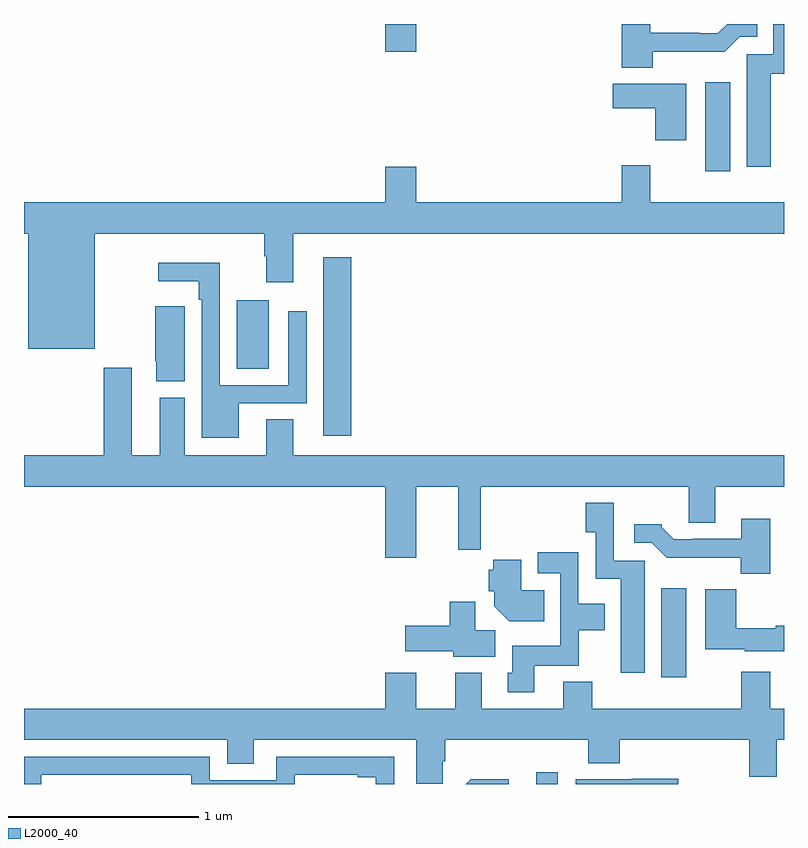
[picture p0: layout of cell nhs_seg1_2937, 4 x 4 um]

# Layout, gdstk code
import gdstk
lib = gdstk.Library(unit=1e-6, precision=1e-09)
def R(c, l, rs):  # rectangles x0, y0, x1, y1
    for r in rs: c.add(gdstk.rectangle(r[:2], r[2:], *l))
def P(c, l, *ps):  # polygons
    for p in ps: c.add(gdstk.Polygon(p, *l))
L2000_40 = (2000, 40)

nhs_seg1_2937 = lib.new_cell('nhs_seg1_2937')
R(nhs_seg1_2937, L2000_40, [(273.695,518.199,273.81,518.26), (274.355,518.76,274.486,519.229), (272.576,520.032,272.723,520.972), (272.12,520.384,272.287,520.746), (274.586,521.424,274.717,521.893), (272.9,522.054,273.064,522.199)])
P(nhs_seg1_2937, L2000_40, [(274.93,521.936),(275,521.936),(275,522.199),(274.943,522.199),(274.943,522.039),(274.805,522.039),(274.805,521.448),(274.93,521.448)],
  [(274.31,522.054),(274.689,522.054),(274.767,522.132),(274.858,522.132),(274.858,522.199),(274.701,522.199),(274.652,522.15),(274.553,522.15),(274.553,522.153),(274.297,522.153),(274.297,522.199),(274.145,522.199),(274.145,521.969),(274.31,521.969)],
  [(274.486,521.884),(274.098,521.884),(274.098,521.755),(274.322,521.755),(274.322,521.586),(274.486,521.586)],
  [(271.372,521.096),(272.264,521.096),(272.264,520.976),(272.276,520.976),(272.276,520.839),(272.416,520.839),(272.416,521.096),(275,521.096),(275,521.26),(274.297,521.26),(274.297,521.455),(274.145,521.455),(274.145,521.26),(273.064,521.26),(273.064,521.449),(272.9,521.449),(272.9,521.26),(271,521.26),(271,521.096),(271.022,521.096),(271.022,520.49),(271.372,520.49)],
  [(272.131,520.203),(272.487,520.203),(272.487,520.687),(272.391,520.687),(272.391,520.299),(272.031,520.299),(272.031,520.942),(271.707,520.942),(271.707,520.844),(271.919,520.844),(271.919,520.748),(271.935,520.748),(271.935,520.022),(272.131,520.022)],
  [(271.846,520.601),(271.845,520.601),(271.845,520.714),(271.69,520.714),(271.69,520.423),(271.697,520.423),(271.697,520.318),(271.846,520.318)],
  [(272.416,520.118),(272.276,520.118),(272.276,519.928),(271.846,519.928),(271.846,520.233),(271.715,520.233),(271.715,519.928),(271.567,519.928),(271.567,520.39),(271.42,520.39),(271.42,519.928),(271,519.928),(271,519.764),(272.9,519.764),(272.9,519.39),(273.064,519.39),(273.064,519.764),(273.286,519.764),(273.286,519.432),(273.404,519.432),(273.404,519.764),(274.499,519.764),(274.499,519.574),(274.639,519.574),(274.639,519.764),(275,519.764),(275,519.928),(272.416,519.928)],
  [(274.267,519.375),(274.104,519.375),(274.104,519.679),(273.956,519.679),(273.956,519.523),(274.008,519.523),(274.008,519.278),(274.142,519.278),(274.142,518.784),(274.267,518.784)],
  [(274.928,519.595),(274.775,519.595),(274.775,519.489),(274.519,519.489),(274.519,519.486),(274.42,519.486),(274.356,519.55),(274.356,519.565),(274.212,519.565),(274.212,519.468),(274.305,519.468),(274.384,519.39),(274.773,519.39),(274.773,519.305),(274.928,519.305)],
  [(273.685,518.822),(273.921,518.822),(273.921,519.008),(274.057,519.008),(274.057,519.148),(273.918,519.148),(273.918,519.418),(273.705,519.418),(273.705,519.309),(273.822,519.309),(273.822,518.926),(273.569,518.926),(273.569,518.784),(273.545,518.784),(273.545,518.682),(273.685,518.682)],
  [(273.737,519.22),(273.616,519.22),(273.616,519.378),(273.469,519.378),(273.469,519.327),(273.446,519.327),(273.446,519.213),(273.476,519.213),(273.476,519.134),(273.554,519.056),(273.737,519.056)],
  [(275,519.032),(274.956,519.032),(274.956,519.019),(274.748,519.019),(274.748,519.223),(274.586,519.223),(274.586,518.909),(274.794,518.909),(274.794,518.897),(275,518.897)],
  [(273.481,519.008),(273.376,519.008),(273.376,519.157),(273.242,519.157),(273.242,519.032),(273.006,519.032),(273.006,518.897),(273.258,518.897),(273.258,518.87),(273.481,518.87)],
  [(273.203,518.32),(273.218,518.32),(273.218,518.432),(273.971,518.432),(273.971,518.308),(274.136,518.308),(274.136,518.432),(274.816,518.432),(274.816,518.238),(274.963,518.238),(274.963,518.432),(275,518.432),(275,518.596),(274.928,518.596),(274.928,518.791),(274.775,518.791),(274.775,518.596),(273.992,518.596),(273.992,518.737),(273.839,518.737),(273.839,518.596),(273.409,518.596),(273.409,518.785),(273.269,518.785),(273.269,518.596),(273.064,518.596),(273.064,518.785),(272.9,518.785),(272.9,518.596),(271,518.596),(271,518.432),(272.069,518.432),(272.069,518.305),(272.209,518.305),(272.209,518.432),(273.065,518.432),(273.065,518.2),(273.203,518.2)],
  [(271.092,518.247),(271.881,518.247),(271.881,518.199),(272.424,518.199),(272.424,518.247),(272.756,518.247),(272.756,518.235),(272.852,518.235),(272.852,518.199),(272.949,518.199),(272.949,518.343),(272.328,518.343),(272.328,518.22),(271.977,518.22),(271.977,518.343),(271,518.343),(271,518.199),(271.092,518.199)],
  [(274.444,518.227),(274.199,518.227),(274.199,518.223),(273.903,518.223),(273.903,518.199),(274.444,518.199)],
  [(273.55,518.225),(273.35,518.225),(273.324,518.199),(273.55,518.199)])

lib.write_gds('nhs_seg1_2937.gds')
